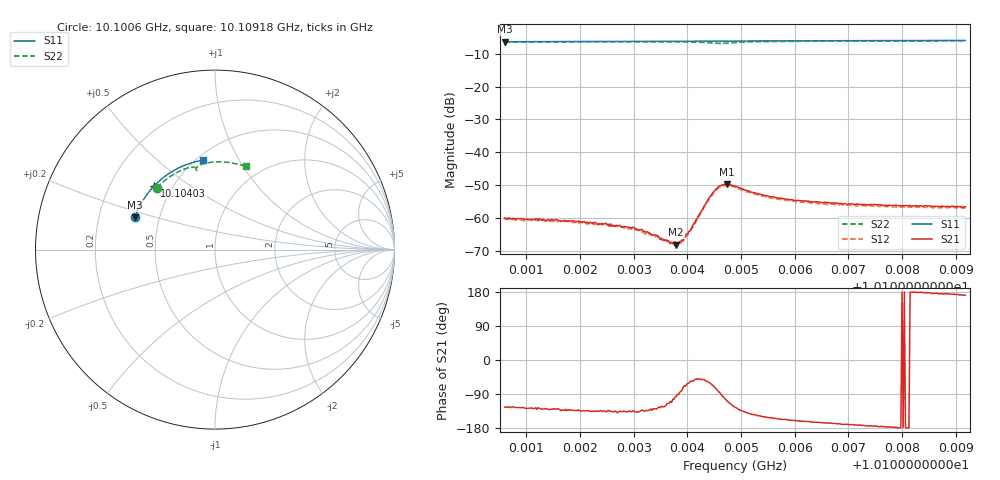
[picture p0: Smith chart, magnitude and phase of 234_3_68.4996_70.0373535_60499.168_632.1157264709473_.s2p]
#  HZ  S  RI  R  50.00
! Rohde & Schwarz Vector Network Analyzer
! Rohde-Schwarz,ZNB20-2Port,1311601062101988,3.16
! Created: UTC 3/20/2024, 4:59:05 PM
! freq[Hz]  re:S11  im:S11  re:S21  im:S21  re:S12  im:S12  re:S22  im:S22
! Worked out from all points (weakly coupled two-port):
!   401 points, 10.1006 GHz to 10.10918 GHz, reference 50 ohm
!   highest |S21| = -49.70 dB at 10.10474 GHz (marker M1); lowest = -68.1 dB at 10.10379 GHz (marker M2)
!   lowest |S11| = -6.4 dB at 10.1006 GHz (marker M3), VSWR 2.85, Z = 18.1 + j8.5 ohm
!   |S11| at or under -10 dB: nowhere
!   |S22| runs from -6.9 to -6.1 dB; largest |S21 - S12| = 0.00037
!   S11 on the Smith chart (normalised r, x): 10.1006 GHz: 0.36, +0.17; 10.10403 GHz: 0.40, +0.37; 10.10918 GHz: 0.54, +0.72
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1.0100596e10  -0.4453 0.1804  -0.000572 -0.000824  -0.000486 -0.000839  -0.3241 0.3444
1.0102034e10  -0.4096 0.2602  -0.00061 -0.000628  -0.000545 -0.000655  -0.2533 0.4048
1.0102742e10  -0.3866 0.2966  -0.000558 -0.000539  -0.000486 -0.000552  -0.2136 0.4291
1.0103021e10  -0.3767 0.3105  -0.000502 -0.000474  -0.000436 -0.000496  -0.1968 0.4375
1.0103471e10  -0.3599 0.3319  -0.000287 -0.00042  -0.000272 -0.000428  -0.1685 0.4497
1.0103536e10  -0.3573 0.3349  -0.000254 -0.000383  -0.000222 -0.0004  -0.1643 0.4514
1.0103665e10  -0.3521 0.3409  -0.00017 -0.000394  -0.000124 -0.000414  -0.1555 0.454
1.0103729e10  -0.3496 0.3438  -9.61e-05 -0.000406  -8.34e-05 -0.000396  -0.1509 0.4554
1.0103793e10  -0.3469 0.3467  -3.99e-05 -0.000391  -1.76e-05 -0.000374  -0.1463 0.4566
1.0103836e10  -0.3452 0.3487  -9.59e-06 -0.000422  5.38e-05 -0.000409  -0.1432 0.4574
1.0103901e10  -0.3425 0.3514  7.8e-05 -0.000456  0.000136 -0.000439  -0.1384 0.4581
1.0104029e10  -0.3371 0.357  0.000306 -0.00055  0.000334 -0.000488  -0.1284 0.4595
1.0104373e10  -0.3222 0.3717  0.000998 -0.00151  0.00109 -0.0014  -0.1018 0.453
1.010448e10  -0.3176 0.376  0.000936 -0.00229  0.00105 -0.0021  -0.0979 0.4466
1.0104609e10  -0.3118 0.3811  0.000176 -0.00308  0.000367 -0.00293  -0.1003 0.4412
1.0104738e10  -0.306 0.3864  -0.000958 -0.00313  -0.00065 -0.00307  -0.1049 0.4451
1.0104888e10  -0.299 0.3923  -0.00173 -0.00253  -0.00143 -0.00256  -0.1028 0.4554
1.010521e10  -0.284 0.4045  -0.00198 -0.00148  -0.00179 -0.00157  -0.0833 0.4713
1.010551e10  -0.2693 0.4152  -0.00187 -0.00101  -0.00169 -0.00114  -0.0624 0.479
1.0106326e10  -0.2275 0.4418  -0.00169 -0.00048  -0.00158 -0.00063  -0.00737 0.4877
1.0107764e10  -0.1483 0.4774  -0.00157 -0.000108  -0.00148 -0.000218  0.086 0.4843
1.010918e10  -0.0652 0.4982  -0.00147 0.000235  -0.00143 5.94e-05  0.1739 0.463
